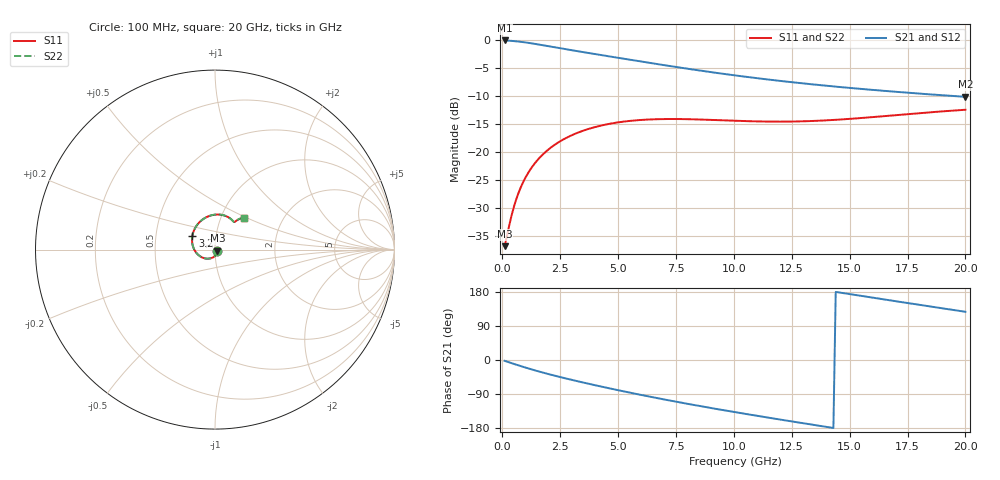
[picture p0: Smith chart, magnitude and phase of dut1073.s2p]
! Touchstone file exported from HFSS 2024.1.0
!  File:  C:/UserFiles/LocalFiles/RDL_TSV_Batchsim/temp_RDL_TSV_1073_1780093568.aedt
!  Generated:  06:40:14 AM May 30, 2026
!  Design:  RDL_TSV
!  Project:  temp_RDL_TSV_1073_1780093568
!  Setup:  Setup1
!  Solution:  Sweep
! Variables:
!  dtsv = 12.52um
!  hbump = 3um
!  htsv = 99.37um
!  ldown = 356.69um
!  lrdl = 512.21um
!  p = 40
!  p1 = 41.31um
!  rhole = 10um
!  subl = 3118.91um
!  t = 450um
!  tdown = 4.53um
!  trdl = 3.44um
!  viad = 10um
!  wdown = 17.26um
!  wrdl = 26.89um
!  xbump = 18um
# GHz S MA R 50.000000
! Terminal data exported
! Port[1] = TM1_1_T1
! Port[2] = TM1_4_T1
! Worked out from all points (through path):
!   200 points, 100 MHz to 20 GHz, reference 50 ohm
!   highest |S21| = -0.12 dB at 100 MHz (marker M1); lowest = -10.2 dB at 20 GHz (marker M2)
!   group delay of S21, straight-line fit = 30.7 ps
!   lowest |S11| = -36.7 dB at 100 MHz (marker M3), VSWR 1.03, Z = 51.3 - j0.625 ohm
!   |S11| at or under -10 dB: start of sweep to end of sweep
!   |S22| runs from -36.7 to -12.4 dB; largest |S21 - S12| = 8.7e-15
!   S11 on the Smith chart (normalised r, x): 100 MHz: 1.03, -0.01; 3.2 GHz: 0.77, +0.12; 20 GHz: 1.29, +0.48
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0.1  0.01456 -24.7  0.9858 -2.1  0.9858 -2.1  0.01456 -24.7
! Gamma 0 0 0 0
! Port Impedance 50 0 50 0
0.4  0.02729 -74.9  0.9773 -8.3  0.9773 -8.3  0.02729 -75.0
0.6  0.03793 -94.5  0.969 -12.3  0.969 -12.3  0.03792 -94.5
0.9  0.05405 -116.2  0.953 -18.1  0.953 -18.1  0.05404 -116.3
1.2  0.06953 -133.7  0.9338 -23.6  0.9338 -23.6  0.06952 -133.7
1.6  0.08867 -153.5  0.9054 -30.7  0.9054 -30.7  0.08867 -153.5
2  0.1059 -170.6  0.8762 -37.3  0.8762 -37.3  0.1059 -170.6
2.6  0.1285 167.5  0.8338 -46.5  0.8338 -46.5  0.1285 167.5
3.2  0.1473 149.1  0.7945 -55.3  0.7945 -55.3  0.1473 149.1
3.5  0.1554 141.0  0.7759 -59.6  0.7759 -59.6  0.1554 141.0
4.2  0.1711 124.5  0.7347 -69.2  0.7347 -69.2  0.1712 124.4
5  0.184 108.8  0.6909 -79.7  0.6909 -79.7  0.1841 108.8
5.9  0.1928 94.5  0.645 -91.0  0.645 -91.0  0.1929 94.5
6.8  0.1967 83.2  0.6028 -101.9  0.6028 -101.9  0.1967 83.2
8.4  0.1955 68.8  0.5371 -120.0  0.5371 -120.0  0.1956 68.8
10.1  0.19 60.0  0.4803 -138.1  0.4803 -138.1  0.19 60.0
11.7  0.1868 56.1  0.4374 -154.2  0.4374 -154.2  0.1869 56.2
13.4  0.1893 54.5  0.4009 -170.8  0.4009 -170.8  0.1895 54.7
15  0.1976 53.8  0.3729 173.9  0.3729 173.9  0.1979 54.0
16.7  0.2108 52.4  0.3482 157.9  0.3482 157.9  0.2113 52.6
18.4  0.2255 50.1  0.3274 142.0  0.3274 142.0  0.2262 50.3
20  0.2383 47.3  0.3107 127.2  0.3107 127.2  0.2391 47.5
